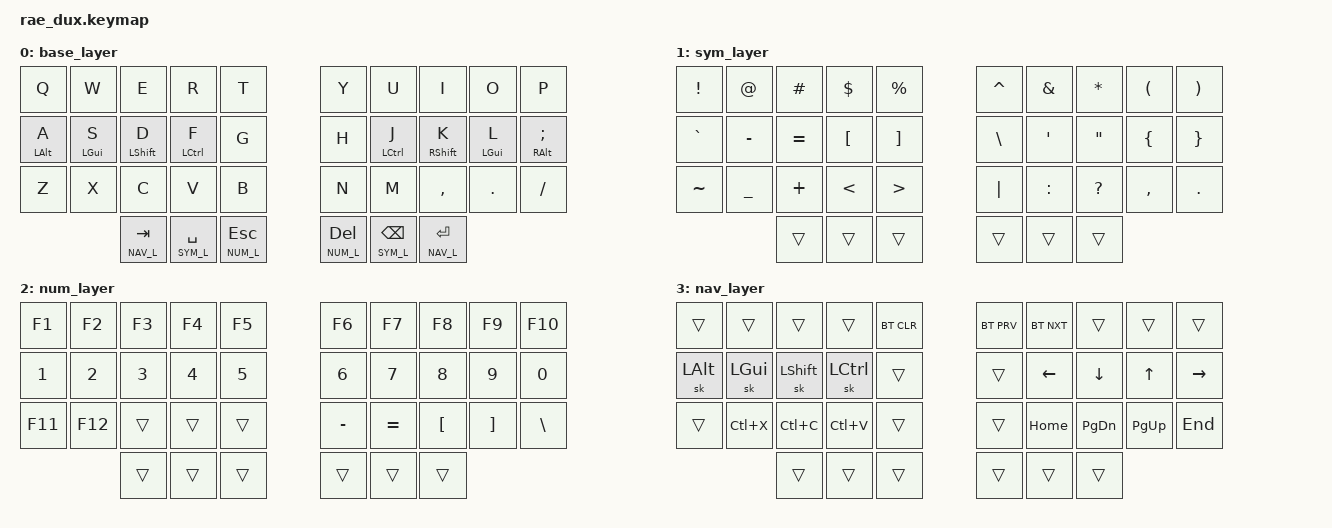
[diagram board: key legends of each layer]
/*
 * Copyright (c) 2021 The ZMK Contributors
 *
 * SPDX-License-Identifier: MIT
 */

#include <behaviors.dtsi>
#include <dt-bindings/zmk/bt.h>
#include <dt-bindings/zmk/keys.h>

&sk {
    quick-release;
};

&caps_word {
    continue-list = <UNDERSCORE MINUS BSPC>;
};

#define BASE_L 0
#define SYM_L 1
#define NUM_L 2
#define NAV_L 3

#define CUT LC(X)
#define COPY LC(C)
#define PASTE LC(V)

/ {

	keymap {
		compatible = "zmk,keymap";

		base_layer {
			bindings = <
                   &kp Q        &kp W         &kp E              &kp R              &kp T              &kp Y              &kp U               &kp I                 &kp O         &kp P
                   &lhm LALT A  &lhm LGUI S   &lhm LSHFT D       &lhm LCTRL F       &kp G              &kp H              &rhm LCTRL J        &rhm RSHFT K          &rhm LGUI L   &rhm RALT SEMI
                   &kp Z        &kp X         &kp C              &kp V              &kp B              &kp N              &kp M               &kp COMMA             &kp DOT       &kp FSLH
				 /*&            &*/           &base_lt NAV_L TAB &base_lt SYM_L SPC &base_lt NUM_L ESC &base_lt NUM_L DEL &base_lt SYM_L BSPC &base_lt NAV_L RET  /*&             &*/
			>;
		};

		sym_layer {
			bindings = <
                   &kp EXCL     &kp AT        &kp HASH      &kp DLLR           &kp PRCNT          &kp CARET           &kp AMPS         &kp STAR                 &kp LPAR      &kp RPAR
                   &kp GRAVE    &kp MINUS     &kp EQUAL     &kp LBKT           &kp RBKT           &kp BSLH            &kp SQT          &kp DQT                  &kp LBRC      &kp RBRC
                   &kp TILDE    &kp UNDER     &kp PLUS      &kp LT             &kp GT             &kp PIPE            &kp COLON        &kp QUESTION             &kp COMMA     &kp DOT
				 /*&            &*/           &trans        &trans             &trans             &trans              &trans           &trans                 /*&             &*/
			>;
		};

		num_layer {
			bindings = <
                   &kp F1       &kp F2        &kp F3        &kp F4             &kp F5             &kp F6              &kp F7           &kp F8                   &kp F9        &kp F10
                   &kp N1       &kp N2        &kp N3        &kp N4             &kp N5             &kp N6              &kp N7           &kp N8                   &kp N9        &kp N0
                   &kp F11      &kp F12       &trans        &trans             &trans             &kp MINUS           &kp EQUAL        &kp LBKT                 &kp RBKT      &kp BSLH
				 /*&            &*/           &trans        &trans             &trans             &trans              &trans           &trans                 /*&             &*/
			>;
		};

		nav_layer {
			bindings = <
                   &trans       &trans        &trans        &trans             &bt BT_CLR         &bt BT_PRV          &bt BT_NXT       &trans               &trans        &trans
                   &sk LALT     &sk LGUI      &sk LSHFT     &sk LCTRL          &trans             &trans              &kp LEFT         &kp DOWN             &kp UP        &kp RIGHT
                   &trans       &kp CUT       &kp COPY      &kp PASTE          &trans             &trans              &kp HOME         &kp PG_DN            &kp PG_UP     &kp END
				 /*&            &*/           &trans        &trans             &trans             &trans              &trans           &trans             /*&             &*/
			>;
		};
	};

    combos {
        compatible = "zmk,combos";

        #define COMBO(NAME, BINDINGS, KEYPOS, TIMEOUT) \
              combo_##NAME { \
                timeout-ms = <TIMEOUT>; \
                bindings = <BINDINGS>; \
                key-positions = <KEYPOS>; \
              };

        /*                KEY POSITIONS

          ╭────────────────────╮ ╭────────────────────╮
          │  0   1   2   3   4 │ │  5   6   7   8   9 │
          │ 10  11  12  13  14 │ │ 15  16  17  18  19 │
          │ 20  21  22  23  24 │ │ 25  26  27  28  29 │
          ╰───────╮ 30  31  32 │ │ 33  34  35 ╭───────╯
                  ╰────────────╯ ╰────────────╯        */

        COMBO(caps_word_left, &caps_word, 13 14, 60)
        COMBO(caps_word_right, &caps_word, 15 16, 60)

        COMBO(grave, &kp GRAVE, 1 2, 60)
        COMBO(semicolon, &kp SEMI, 7 8, 60)
        COMBO(equal, &kp EQUAL, 21 22, 60)
        COMBO(quote, &kp SQT, 27 28, 60)

        COMBO(minus, &kp MINUS, 31 34, 60)
        COMBO(underscore, &kp UNDER, 32 33, 60)
    };

    behaviors {
        lhm: left_hand_positional_hold_tap {
            compatible = "zmk,behavior-hold-tap";
            label = "LEFT_POSITIONAL_HOLD_TAP";
            #binding-cells = <2>;
            flavor = "tap-preferred";
            tapping-term-ms = <200>;
            quick-tap-ms = <200>;
            bindings = <&kp>, <&kp>;
            hold-trigger-key-positions = <5 6 7 8 9 10 11 12 13 15 16 17 18 19 25 26 27 28 29 30 31 32 33 34 35>;
        };

        rhm: right_hand_positional_hold_tap {
            compatible = "zmk,behavior-hold-tap";
            label = "RIGHT_POSITIONAL_HOLD_TAP";
            #binding-cells = <2>;
            flavor = "tap-preferred";
            tapping-term-ms = <200>;
            quick-tap-ms = <200>;
            bindings = <&kp>, <&kp>;
            hold-trigger-key-positions = <0 1 2 3 4 10 11 12 13 14 16 17 18 19 20 21 22 23 24 30 31 32 33 34 35>;
        };

        base_lt: base_layer_hold_tap {
            compatible = "zmk,behavior-hold-tap";
            label = "BASE_LAYER_HOLD_TAP";
            #binding-cells = <2>;
            flavor = "tap-preferred";
            tapping-term-ms = <200>;
            quick-tap-ms = <200>;
            bindings = <&mo>, <&kp>;
        };
    };
};
